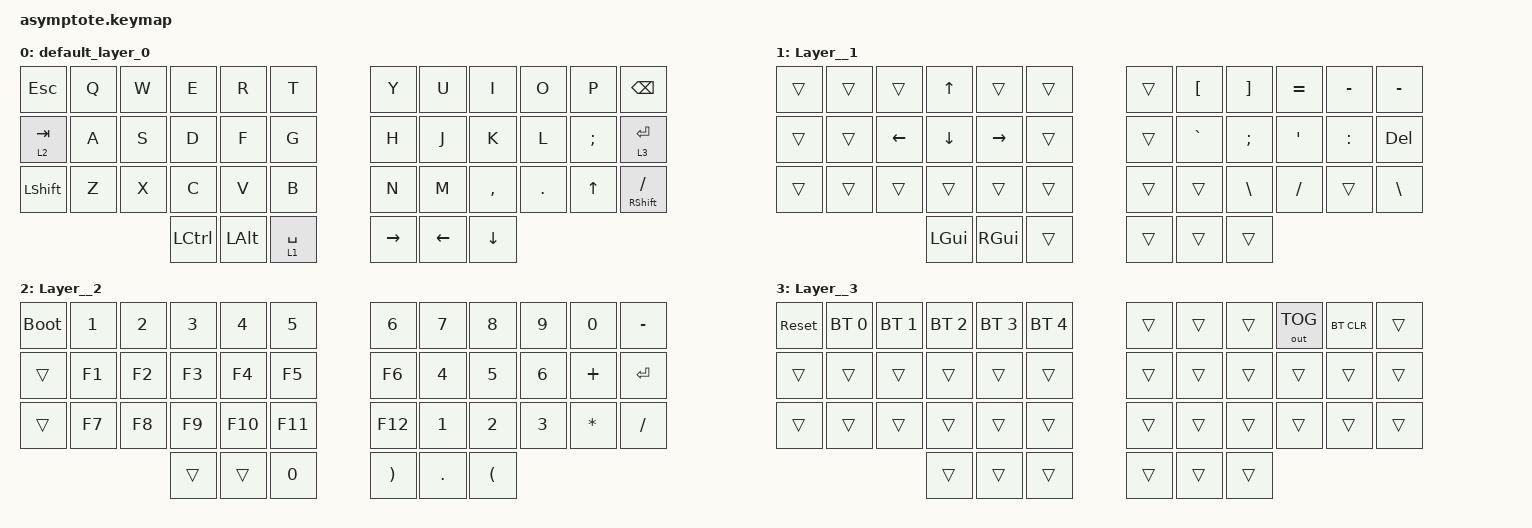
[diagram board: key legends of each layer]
/*
 * Copyright (c) 2020 The ZMK Contributors
 *
 * SPDX-License-Identifier: MIT
 */

#include <behaviors.dtsi>
#include <dt-bindings/zmk/bt.h>
#include <dt-bindings/zmk/keys.h>
#include <dt-bindings/zmk/outputs.h>

&mt {
    tapping-term-ms = <200>;
};

&lt {
    quick-tap-ms = <400>;
};

/ {
    keymap {
        compatible = "zmk,keymap";

        default_layer_0 {
            bindings = <
&kp ESC    &kp Q  &kp W  &kp E      &kp R     &kp T          &kp Y      &kp U     &kp I      &kp O    &kp P          &kp BSPC
&lt 2 TAB  &kp A  &kp S  &kp D      &kp F     &kp G          &kp H      &kp J     &kp K      &kp L    &kp SEMICOLON  &lt 3 RET
&kp LSHFT  &kp Z  &kp X  &kp C      &kp V     &kp B          &kp N      &kp M     &kp COMMA  &kp DOT  &kp UP         &mt RSHIFT SLASH
                         &kp LCTRL  &kp LALT  &lt 1 SPACE    &kp RIGHT  &kp LEFT  &kp DOWN
            >;
        };

        Layer__1 {
            bindings = <
&trans  &trans  &trans    &kp UP    &trans         &trans    &trans  &kp LEFT_BRACKET  &kp RIGHT_BRACKET  &kp EQUAL         &kp MINUS  &kp MINUS
&trans  &trans  &kp LEFT  &kp DOWN  &kp RIGHT      &trans    &trans  &kp GRAVE         &kp SEMI           &kp SINGLE_QUOTE  &kp COLON  &kp DEL
&trans  &trans  &trans    &trans    &trans         &trans    &trans  &trans            &kp BSLH           &kp FSLH          &trans     &kp BSLH
                          &kp LGUI  &kp RIGHT_GUI  &trans    &trans  &trans            &trans
            >;
        };

        Layer__2 {
            bindings = <
&bootloader  &kp NUMBER_1  &kp N2  &kp N3  &kp N4   &kp N5     &kp N6                 &kp N7   &kp N8                &kp N9  &kp N0     &kp MINUS
&trans       &kp F1        &kp F2  &kp F3  &kp F4   &kp F5     &kp F6                 &kp N4   &kp N5                &kp N6  &kp PLUS   &kp RET
&trans       &kp F7        &kp F8  &kp F9  &kp F10  &kp F11    &kp F12                &kp N1   &kp N2                &kp N3  &kp ASTRK  &kp SLASH
                                   &trans  &trans   &kp N0     &kp RIGHT_PARENTHESIS  &kp DOT  &kp LEFT_PARENTHESIS
            >;
        };

        Layer__3 {
            bindings = <
&sys_reset  &bt BT_SEL 0  &bt BT_SEL 1  &bt BT_SEL 2  &bt BT_SEL 3  &bt BT_SEL 4    &trans  &trans  &trans  &out OUT_TOG  &bt BT_CLR  &trans
&trans      &trans        &trans        &trans        &trans        &trans          &trans  &trans  &trans  &trans        &trans      &trans
&trans      &trans        &trans        &trans        &trans        &trans          &trans  &trans  &trans  &trans        &trans      &trans
                                        &trans        &trans        &trans          &trans  &trans  &trans
            >;
        };
    };
};
